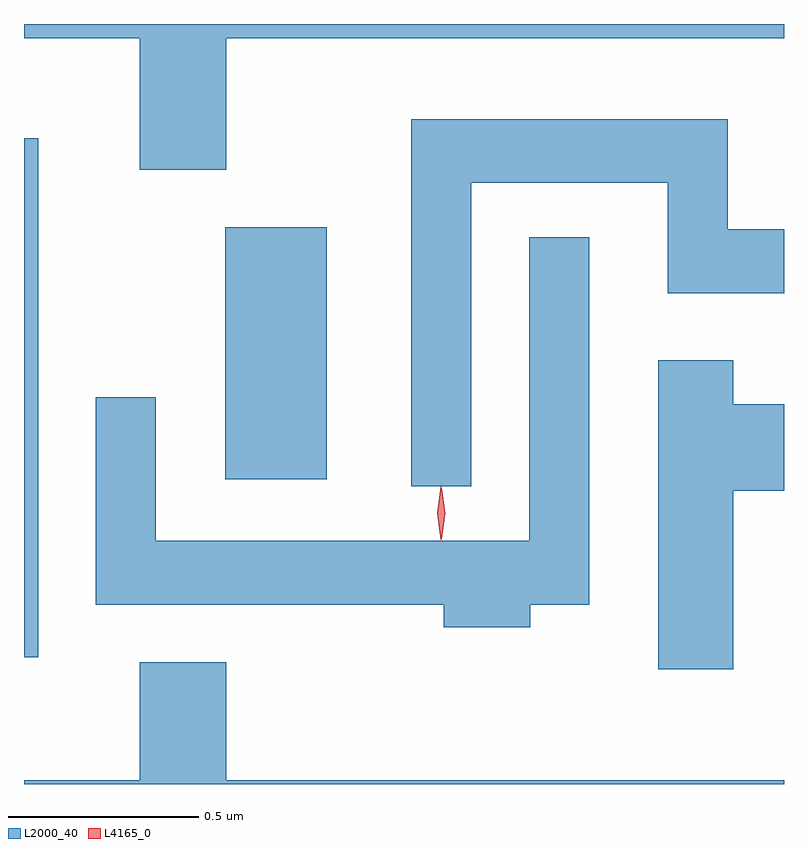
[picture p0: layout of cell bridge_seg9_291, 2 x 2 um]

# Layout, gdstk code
import gdstk
lib = gdstk.Library(unit=1e-6, precision=1e-09)
def R(c, l, rs):  # rectangles x0, y0, x1, y1
    for r in rs: c.add(gdstk.rectangle(r[:2], r[2:], *l))
def P(c, l, *ps):  # polygons
    for p in ps: c.add(gdstk.Polygon(p, *l))
L2000_40 = (2000, 40)
L4165_0 = (4165, 0)

bridge_seg9_291 = lib.new_cell('bridge_seg9_291')
R(bridge_seg9_291, L2000_40, [(1017.637,2072.327,1017.674,2073.694), (1018.166,2072.796,1018.434,2073.459)])
P(bridge_seg9_291, L2000_40, [(1018.169,2073.956),(1019.637,2073.956),(1019.637,2073.994),(1017.637,2073.994),(1017.637,2073.956),(1017.941,2073.956),(1017.941,2073.611),(1018.169,2073.611)],
  [(1018.814,2073.576),(1019.331,2073.576),(1019.331,2073.286),(1019.637,2073.286),(1019.637,2073.454),(1019.489,2073.454),(1019.489,2073.744),(1018.656,2073.744),(1018.656,2072.778),(1018.814,2072.778)],
  [(1018.969,2072.466),(1019.124,2072.466),(1019.124,2073.433),(1018.966,2073.433),(1018.966,2072.634),(1017.984,2072.634),(1017.984,2073.012),(1017.826,2073.012),(1017.826,2072.466),(1018.741,2072.466),(1018.741,2072.406),(1018.969,2072.406)],
  [(1019.504,2072.766),(1019.637,2072.766),(1019.637,2072.994),(1019.504,2072.994),(1019.504,2073.109),(1019.306,2073.109),(1019.306,2072.296),(1019.504,2072.296)],
  [(1019.637,2072.004),(1018.169,2072.004),(1018.169,2072.314),(1017.941,2072.314),(1017.941,2072.004),(1017.637,2072.004),(1017.637,2071.994),(1019.637,2071.994)])
P(bridge_seg9_291, L4165_0, [(1018.734,2072.637),(1018.725,2072.706),(1018.734,2072.776),(1018.735,2072.776),(1018.735,2072.776),(1018.745,2072.706),(1018.735,2072.637),(1018.735,2072.637)],
  [(1018.735,2072.64),(1018.725,2072.706),(1018.735,2072.772),(1018.735,2072.773),(1018.736,2072.772),(1018.745,2072.706),(1018.736,2072.64),(1018.736,2072.64)])

lib.write_gds('bridge_seg9_291.gds')
